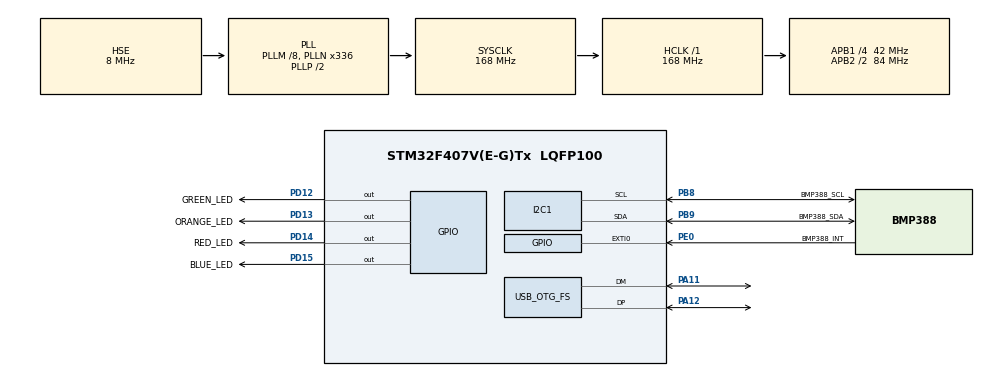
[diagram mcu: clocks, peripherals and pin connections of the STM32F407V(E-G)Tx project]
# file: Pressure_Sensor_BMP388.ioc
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I2C1.I2C_Mode=I2C_Fast
Mcu.Family=STM32F4
Mcu.Name=STM32F407V(E-G)Tx
Mcu.Package=LQFP100
NVIC.EXTI0_IRQn=true\:0\:0\:false\:false\:true\:true\:true\:true
NVIC.OTG_FS_IRQn=true\:0\:0\:false\:false\:true\:false\:true\:true
NVIC.PriorityGroup=NVIC_PRIORITYGROUP_0
NVIC.TIM6_DAC_IRQn=true\:0\:0\:false\:false\:true\:true\:true\:true
PA11.Mode=Device_Only
PA11.Signal=USB_OTG_FS_DM
PA12.Mode=Device_Only
PA12.Signal=USB_OTG_FS_DP
PB8.GPIO_Label=BMP388_SCL
PB8.Mode=I2C
PB8.Signal=I2C1_SCL
PB9.GPIO_Label=BMP388_SDA
PB9.Mode=I2C
PB9.Signal=I2C1_SDA
PD12.GPIO_Label=GREEN_LED
PD12.Signal=GPIO_Output
PD13.GPIO_Label=ORANGE_LED
PD13.Signal=GPIO_Output
PD14.GPIO_Label=RED_LED
PD14.Signal=GPIO_Output
PD15.GPIO_Label=BLUE_LED
PD15.Signal=GPIO_Output
PE0.GPIO_Label=BMP388_INT
PE0.GPIO_ModeDefaultEXTI=GPIO_MODE_IT_FALLING
PE0.Signal=GPXTI0
PH0-OSC_IN.Mode=HSE-External-Oscillator
PH0-OSC_IN.Signal=RCC_OSC_IN
PH1-OSC_OUT.Mode=HSE-External-Oscillator
PH1-OSC_OUT.Signal=RCC_OSC_OUT
ProjectManager.HeapSize=0x200
ProjectManager.StackSize=0x400
ProjectManager.TargetToolchain=STM32CubeIDE
RCC.48MHZClocksFreq_Value=48000000
RCC.AHBFreq_Value=168000000
RCC.APB1CLKDivider=RCC_HCLK_DIV4
RCC.APB1Freq_Value=42000000
RCC.APB1TimFreq_Value=84000000
RCC.APB2CLKDivider=RCC_HCLK_DIV2
RCC.APB2Freq_Value=84000000
RCC.APB2TimFreq_Value=168000000
RCC.CortexFreq_Value=168000000
RCC.HCLKFreq_Value=168000000
RCC.HSE_VALUE=8000000
RCC.HSI_VALUE=16000000
RCC.LSE_VALUE=32768
RCC.PLLM=8
RCC.PLLN=336
RCC.PLLQ=7
RCC.PLLSourceVirtual=RCC_PLLSOURCE_HSE
RCC.SYSCLKFreq_VALUE=168000000
RCC.SYSCLKSource=RCC_SYSCLKSOURCE_PLLCLK
RCC.VCOOutputFreq_Value=336000000
TIM6.Period=83
TIM6.Prescaler=1
USB_DEVICE.CLASS_NAME_FS=CDC
USB_DEVICE.VirtualMode-CDC_FS=Cdc
USB_DEVICE.VirtualModeFS=Cdc_FS
USB_OTG_FS.VirtualMode=Device_Only
VP_TIM6_VS_ClockSourceINT.Mode=Enable_Timer
VP_USB_DEVICE_VS_USB_DEVICE_CDC_FS.Mode=CDC_FS
board=STM32F407G-DISC1

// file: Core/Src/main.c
/* USER CODE BEGIN Header */
/**
  ******************************************************************************
  * @file           : main.c
  * @brief          : Main program body
  ******************************************************************************
  * @attention
  *
  * Copyright (c) 2025 STMicroelectronics.
  * All rights reserved.
  *
  * This software is licensed under terms that can be found in the LICENSE file
  * in the root directory of this software component.
  * If no LICENSE file comes with this software, it is provided AS-IS.
  *
  ******************************************************************************
  */
/* USER CODE END Header */
#include "main.h"
#include "usb_device.h"

/* USER CODE BEGIN Includes */
#include <string.h>
#include <stdio.h>
#include "bmp3.h"
#include "bmp3_selftest.h"
#include "bmp388_port.h"
#include "usbd_cdc_if.h"
/* USER CODE END Includes */

I2C_HandleTypeDef hi2c1;

TIM_HandleTypeDef htim6;

/* USER CODE BEGIN PV */
struct bmp3_dev bmp388 = {0};														/*! 	@brief variable to hold the bmp388 main data 		*/
struct bmp388_interface bmp388_intf = {&htim6,&hi2c1,BMP388_DEV_ADDR};				/*! 	@brief variable to hold the bmp388 interface 		*/
/* USER CODE END PV */

void SystemClock_Config(void);
static void MX_GPIO_Init(void);
static void MX_I2C1_Init(void);
static void MX_TIM6_Init(void);

/* USER CODE BEGIN 0 */
volatile uint8_t bmp388_calib_flag = 0U , bmp388_press_calib_flag = 0U , bmp388_altitude_calib_flag = 0U;
char usb_msg[50]={0};
void HAL_GPIO_EXTI_Callback(uint16_t GPIO_Pin)
{
	if( GPIO_Pin == BMP388_INT_Pin )
	{
		/*!< BMP388 Calibration Process >!*/
		if ( !bmp388_calib_flag )
		{
			const uint32_t iter_num = 200U;
			static uint32_t alt_index , pre_index = 0U;
			static double calibration_data = 0.0f;

			/*!< Pressure(p) and Reference Altitude (h0) Calibration >!*/

			if ( get_bmp388_sensor_data(&bmp388) != BMP3_OK )
			{
				  printf("BMP388 sensor get data failure !\n");
				  Error_Handler();
			}

			/*!< Ground Pressure(p0) Calibration >!*/
			if( !bmp388_press_calib_flag )
			{
				calibration_data += bmp388.pressure_data.pressure;

				if ( pre_index++ == iter_num )
				{
					pre_index = 0U;

					bmp388_press_calib_flag = 1U;

					calibration_data /= (double)iter_num;

					HAL_GPIO_WritePin(ORANGE_LED_GPIO_Port, ORANGE_LED_Pin, 1U);

					printf("The Presssure Calibration completed\n");
				}
			}

			/*!< Reference Altitude (h0) Calibration >!*/
			if( ( bmp388_press_calib_flag ) && ( !bmp388_altitude_calib_flag ) )
			{
				bmp388.pressure_data.ground_pressure = calibration_data;

				bmp388.pressure_data.relative_offset += -((bmp388.pressure_data.pressure-bmp388.pressure_data.ground_pressure) \
																		/ (DENSITY_AIR_KG_M3 * GRAVITY_AIR_KG_MPS2));

				if ( alt_index++ == iter_num )
				{
					alt_index = 0U;

					bmp388_altitude_calib_flag = 1U;

					bmp388_calib_flag = 1U;

					bmp388.pressure_data.relative_offset /= (double)iter_num;

					HAL_GPIO_WritePin(BLUE_LED_GPIO_Port, BLUE_LED_Pin, 1U);

					printf("The Altitude Calibration completed\n");
				}
			}

		}
		else	/*!< Get Calibrated Altitude Process >!*/
		{
			if ( get_bmp388_sensor_data(&bmp388) != BMP3_OK )
			{
				  printf("BMP388 sensor get data failure !\n");
				  Error_Handler();
			}

		    if ( bmp388_get_altitude(&bmp388) != BMP3_OK )
		    {
			    printf("BMP388 isnt get data !\n");
			    Error_Handler();
		    }

		}
	}
}
/* USER CODE END 0 */

int main(void)
{

  /* MCU Configuration--------------------------------------------------------*/

  /* Reset of all peripherals, Initializes the Flash interface and the Systick. */
  HAL_Init();

  /* Configure the system clock */
  SystemClock_Config();

  /* Initialize all configured peripherals */
  MX_GPIO_Init();
  MX_I2C1_Init();
  MX_TIM6_Init();
  MX_USB_DEVICE_Init();
  /* USER CODE BEGIN 2 */

  if(bmp388_interface_init(&bmp388, &bmp388_intf) != BMP3_OK)
  {
	  Error_Handler();
  }

  /* USER CODE END 2 */

  /* Infinite loop */
  while (1)
  {

    /* USER CODE BEGIN 3 */
	    sprintf(usb_msg,"%f\r\n",(float)bmp388.pressure_data.relative_altitude);
	    CDC_Transmit_FS((uint8_t*)usb_msg,strlen(usb_msg));
	    HAL_Delay(20);
  }
  /* USER CODE END 3 */
}

void SystemClock_Config(void)
{
  RCC_OscInitTypeDef RCC_OscInitStruct = {0};
  RCC_ClkInitTypeDef RCC_ClkInitStruct = {0};

  /** Configure the main internal regulator output voltage
  */
  __HAL_RCC_PWR_CLK_ENABLE();
  __HAL_PWR_VOLTAGESCALING_CONFIG(PWR_REGULATOR_VOLTAGE_SCALE1);

  /** Initializes the RCC Oscillators according to the specified parameters
  * in the RCC_OscInitTypeDef structure.
  */
  RCC_OscInitStruct.OscillatorType = RCC_OSCILLATORTYPE_HSE;
  RCC_OscInitStruct.HSEState = RCC_HSE_ON;
  RCC_OscInitStruct.PLL.PLLState = RCC_PLL_ON;
  RCC_OscInitStruct.PLL.PLLSource = RCC_PLLSOURCE_HSE;
  RCC_OscInitStruct.PLL.PLLM = 8;
  RCC_OscInitStruct.PLL.PLLN = 336;
  RCC_OscInitStruct.PLL.PLLP = RCC_PLLP_DIV2;
  RCC_OscInitStruct.PLL.PLLQ = 7;
  if (HAL_RCC_OscConfig(&RCC_OscInitStruct) != HAL_OK)
  {
    Error_Handler();
  }

  /** Initializes the CPU, AHB and APB buses clocks
  */
  RCC_ClkInitStruct.ClockType = RCC_CLOCKTYPE_HCLK|RCC_CLOCKTYPE_SYSCLK
                              |RCC_CLOCKTYPE_PCLK1|RCC_CLOCKTYPE_PCLK2;
  RCC_ClkInitStruct.SYSCLKSource = RCC_SYSCLKSOURCE_PLLCLK;
  RCC_ClkInitStruct.AHBCLKDivider = RCC_SYSCLK_DIV1;
  RCC_ClkInitStruct.APB1CLKDivider = RCC_HCLK_DIV4;
  RCC_ClkInitStruct.APB2CLKDivider = RCC_HCLK_DIV2;

  if (HAL_RCC_ClockConfig(&RCC_ClkInitStruct, FLASH_LATENCY_5) != HAL_OK)
  {
    Error_Handler();
  }
}

static void MX_I2C1_Init(void)
{

  hi2c1.Instance = I2C1;
  hi2c1.Init.ClockSpeed = 400000;
  hi2c1.Init.DutyCycle = I2C_DUTYCYCLE_2;
  hi2c1.Init.OwnAddress1 = 0;
  hi2c1.Init.AddressingMode = I2C_ADDRESSINGMODE_7BIT;
  hi2c1.Init.DualAddressMode = I2C_DUALADDRESS_DISABLE;
  hi2c1.Init.OwnAddress2 = 0;
  hi2c1.Init.GeneralCallMode = I2C_GENERALCALL_DISABLE;
  hi2c1.Init.NoStretchMode = I2C_NOSTRETCH_DISABLE;
  if (HAL_I2C_Init(&hi2c1) != HAL_OK)
  {
    Error_Handler();
  }

}

static void MX_TIM6_Init(void)
{

  TIM_MasterConfigTypeDef sMasterConfig = {0};

  htim6.Instance = TIM6;
  htim6.Init.Prescaler = 1;
  htim6.Init.CounterMode = TIM_COUNTERMODE_UP;
  htim6.Init.Period = 83;
  htim6.Init.AutoReloadPreload = TIM_AUTORELOAD_PRELOAD_DISABLE;
  if (HAL_TIM_Base_Init(&htim6) != HAL_OK)
  {
    Error_Handler();
  }
  sMasterConfig.MasterOutputTrigger = TIM_TRGO_RESET;
  sMasterConfig.MasterSlaveMode = TIM_MASTERSLAVEMODE_DISABLE;
  if (HAL_TIMEx_MasterConfigSynchronization(&htim6, &sMasterConfig) != HAL_OK)
  {
    Error_Handler();
  }

}

static void MX_GPIO_Init(void)
{
  GPIO_InitTypeDef GPIO_InitStruct = {0};

  /* GPIO Ports Clock Enable */
  __HAL_RCC_GPIOH_CLK_ENABLE();
  __HAL_RCC_GPIOD_CLK_ENABLE();
  __HAL_RCC_GPIOA_CLK_ENABLE();
  __HAL_RCC_GPIOB_CLK_ENABLE();
  __HAL_RCC_GPIOE_CLK_ENABLE();

  /*Configure GPIO pin Output Level */
  HAL_GPIO_WritePin(GPIOD, GREEN_LED_Pin|ORANGE_LED_Pin|RED_LED_Pin|BLUE_LED_Pin, GPIO_PIN_RESET);

  /*Configure GPIO pins : GREEN_LED_Pin ORANGE_LED_Pin RED_LED_Pin BLUE_LED_Pin */
  GPIO_InitStruct.Pin = GREEN_LED_Pin|ORANGE_LED_Pin|RED_LED_Pin|BLUE_LED_Pin;
  GPIO_InitStruct.Mode = GPIO_MODE_OUTPUT_PP;
  GPIO_InitStruct.Pull = GPIO_NOPULL;
  GPIO_InitStruct.Speed = GPIO_SPEED_FREQ_LOW;
  HAL_GPIO_Init(GPIOD, &GPIO_InitStruct);

  /*Configure GPIO pin : BMP388_INT_Pin */
  GPIO_InitStruct.Pin = BMP388_INT_Pin;
  GPIO_InitStruct.Mode = GPIO_MODE_IT_FALLING;
  GPIO_InitStruct.Pull = GPIO_NOPULL;
  HAL_GPIO_Init(BMP388_INT_GPIO_Port, &GPIO_InitStruct);

  /* EXTI interrupt init*/
  HAL_NVIC_SetPriority(EXTI0_IRQn, 0, 0);
  HAL_NVIC_EnableIRQ(EXTI0_IRQn);

}

void Error_Handler(void)
{
  /* USER CODE BEGIN Error_Handler_Debug */
  /* User can add his own implementation to report the HAL error return state */
  __disable_irq();
  HAL_GPIO_WritePin(RED_LED_GPIO_Port, RED_LED_Pin, 1U);
  while (1)
  {
  }
  /* USER CODE END Error_Handler_Debug */
}
